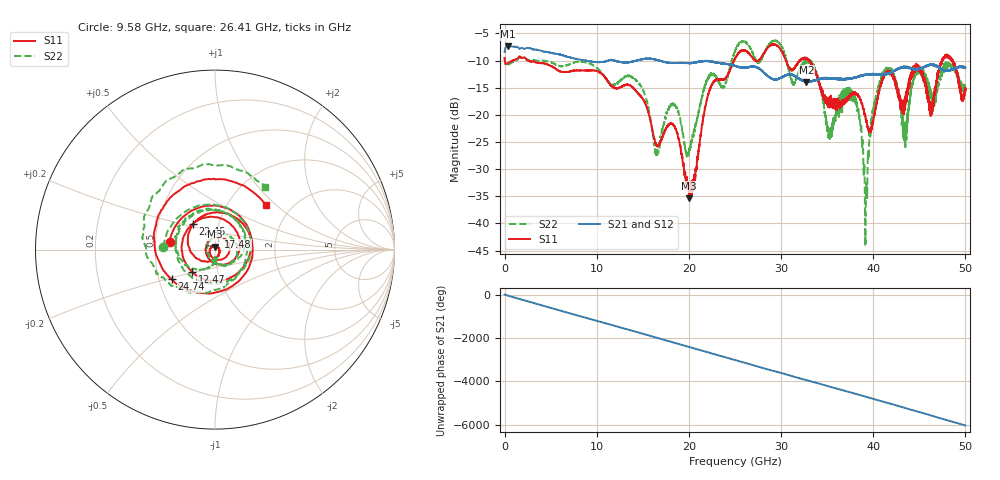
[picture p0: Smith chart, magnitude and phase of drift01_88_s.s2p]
!Created with skrf (http://scikit-rf.org).
# Hz S RI R 50.0
!freq ReS11 ImS11 ReS21 ImS21 ReS12 ImS12 ReS22 ImS22
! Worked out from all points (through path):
!   10001 points, 300 kHz to 50 GHz, reference 50 ohm
!   highest |S21| = -7.33 dB at 325.3 MHz (marker M1); lowest = -14.0 dB at 32.76 GHz (marker M2)
!   group delay of S21, straight-line fit = 335 ps
!   lowest |S11| = -35.4 dB at 20.01 GHz (marker M3), VSWR 1.03, Z = 49.8 + j1.69 ohm
!   |S11| at or under -10 dB: 2.554 GHz to 24.9 GHz (22.35 GHz wide, 163 % of centre); 30.52 GHz to 32.01 GHz (1.495 GHz wide, 4.78 % of centre); 33.08 GHz to 47.44 GHz (14.36 GHz wide, 35.7 % of centre) (the widest 3 of 19)
!   |S22| runs from -44.2 to -6.3 dB; largest |S21 - S12| = 0.0092
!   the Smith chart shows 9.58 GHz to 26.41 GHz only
!   S11 on the Smith chart (normalised r, x): 9.58 GHz: 0.59, +0.06; 12.47 GHz: 0.75, -0.19; 17.48 GHz: 1.02, +0.15; 22.45 GHz: 0.75, +0.22; 24.74 GHz: 0.58, -0.21; 26.41 GHz: 1.49, +0.86
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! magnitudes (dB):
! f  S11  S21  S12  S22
! 300 kHz  -9.5  -8.4  -8.5  -9.5
! 325.3 MHz  -10.5  -7.3  -7.3  -10.9
! 8.335 GHz  -11.8  -9.8  -9.8  -10.2
! 9.58 GHz  -11.8  -10.2  -10.2  -10.8
! 12.47 GHz  -15.0  -10.2  -10.2  -13.9
! 16.67 GHz  -25.9  -10.0  -10.0  -27.1
! 17.48 GHz  -22.7  -10.3  -10.3  -20.5
! 20.01 GHz  -35.4  -10.5  -10.5  -26.8
! 22.45 GHz  -14.6  -10.2  -10.2  -12.7
! 24.74 GHz  -10.7  -10.9  -10.8  -9.5
! 25 GHz  -9.6  -11.0  -11.0  -8.3
! 26.41 GHz  -8.5  -11.2  -11.2  -7.0
! 32.76 GHz  -9.6  -14.0  -13.8  -10.2
! 33.34 GHz  -10.8  -13.8  -13.8  -10.6
! 35.23 GHz  -17.8  -13.2  -13.3  -22.5
! 37.95 GHz  -15.9  -13.1  -13.1  -17.2
! 39.17 GHz  -20.5  -12.7  -12.6  -40.8
! 40.14 GHz  -19.8  -12.5  -12.5  -17.7
! 41.67 GHz  -12.0  -12.3  -12.3  -11.8
! 43.44 GHz  -17.5  -11.1  -11.2  -24.6
! 44.88 GHz  -10.9  -11.5  -11.6  -11.9
! 50 GHz  -15.4  -11.3  -11.3  -15.1
